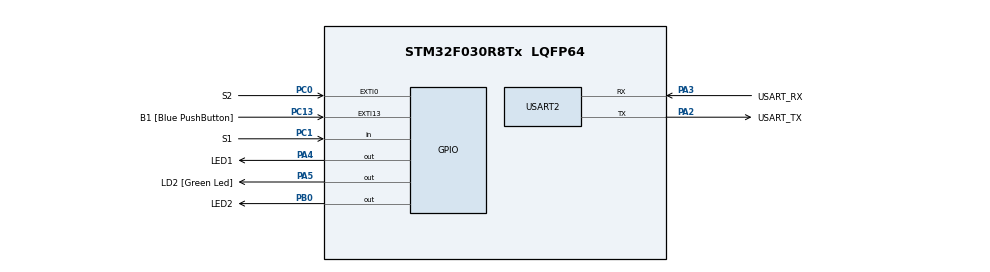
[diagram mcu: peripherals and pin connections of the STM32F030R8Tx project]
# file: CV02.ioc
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Mcu.Family=STM32F0
Mcu.Name=STM32F030R8Tx
Mcu.Package=LQFP64
NVIC.EXTI0_1_IRQn=true\:0\:0\:false\:false\:true\:true\:true\:true
PA13.GPIO_Label=TMS
PA13.Mode=Serial_Wire
PA13.Signal=SYS_SWDIO
PA14.GPIO_Label=TCK
PA14.Mode=Serial_Wire
PA14.Signal=SYS_SWCLK
PA2.GPIO_Label=USART_TX
PA2.GPIO_Mode=GPIO_MODE_AF_PP
PA2.GPIO_PuPd=GPIO_NOPULL
PA2.GPIO_Speed=GPIO_SPEED_FREQ_LOW
PA2.Mode=Asynchronous
PA2.Signal=USART2_TX
PA3.GPIO_Label=USART_RX
PA3.GPIO_Mode=GPIO_MODE_AF_PP
PA3.GPIO_PuPd=GPIO_NOPULL
PA3.GPIO_Speed=GPIO_SPEED_FREQ_LOW
PA3.Mode=Asynchronous
PA3.Signal=USART2_RX
PA4.GPIO_Label=LED1
PA4.Signal=GPIO_Output
PA5.GPIO_Label=LD2 [Green Led]
PA5.GPIO_Mode=GPIO_MODE_OUTPUT_PP
PA5.GPIO_PuPd=GPIO_NOPULL
PA5.GPIO_Speed=GPIO_SPEED_FREQ_LOW
PA5.Signal=GPIO_Output
PB0.GPIO_Label=LED2
PB0.Signal=GPIO_Output
PC0.GPIO_Label=S2
PC0.GPIO_ModeDefaultEXTI=GPIO_MODE_IT_FALLING
PC0.GPIO_PuPd=GPIO_PULLUP
PC0.Signal=GPXTI0
PC1.GPIO_Label=S1
PC1.GPIO_PuPd=GPIO_PULLUP
PC1.Signal=GPIO_Input
PC13.GPIO_Label=B1 [Blue PushButton]
PC13.GPIO_ModeDefaultEXTI=GPIO_MODE_IT_FALLING
PC13.Signal=GPXTI13
PC14-OSC32_IN.Mode=LSE-External-Oscillator
PC14-OSC32_IN.Signal=RCC_OSC32_IN
PC15-OSC32_OUT.Mode=LSE-External-Oscillator
PC15-OSC32_OUT.Signal=RCC_OSC32_OUT
PF0-OSC_IN.Mode=HSE-External-Clock-Source
PF0-OSC_IN.Signal=RCC_OSC_IN
PF1-OSC_OUT.Signal=RCC_OSC_OUT
ProjectManager.HeapSize=0x200
ProjectManager.StackSize=0x400
ProjectManager.TargetToolchain=STM32CubeIDE
RCC.AHBFreq_Value=48000000
RCC.APB1Freq_Value=48000000
RCC.APB1TimFreq_Value=48000000
RCC.HCLKFreq_Value=48000000
RCC.PLLMUL=RCC_PLL_MUL12
RCC.SYSCLKFreq_VALUE=48000000
RCC.SYSCLKSource=RCC_SYSCLKSOURCE_PLLCLK
USART2.VirtualMode-Asynchronous=VM_ASYNC
board=NUCLEO-F030R8

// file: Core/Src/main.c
/* USER CODE BEGIN Header */
/**
  ******************************************************************************
  * @file           : main.c
  * @brief          : Main program body
  ******************************************************************************
  * @attention
  *
  * Copyright (c) 2024 STMicroelectronics.
  * All rights reserved.
  *
  * This software is licensed under terms that can be found in the LICENSE file
  * in the root directory of this software component.
  * If no LICENSE file comes with this software, it is provided AS-IS.
  *
  ******************************************************************************
  */
/* USER CODE END Header */
#include "main.h"
volatile uint32_t Tick;
#define LED_TIME_BLINK 600
#define LED_TIME_SHORT 300
#define LED_TIME_LONG  1000
#define BUTTON_PERIOD 40

/* USER CODE BEGIN PV */
volatile uint32_t Tick;
/* USER CODE END PV */

void SystemClock_Config(void);
static void MX_GPIO_Init(void);
static void MX_USART2_UART_Init(void);

/* USER CODE BEGIN 0 */
void blink(void) {
    static uint32_t delay;
    if (Tick > delay + LED_TIME_BLINK) {
        LL_GPIO_TogglePin(LED1_GPIO_Port, LED1_Pin);
        delay = Tick;
    }
}

void button(void) {
    static uint32_t old_s2, old_s1;
    static uint32_t off_time = 0;
    uint32_t new_s2 = LL_GPIO_IsInputPinSet(S2_GPIO_Port, S2_Pin);
    uint32_t new_s1 = LL_GPIO_IsInputPinSet(S1_GPIO_Port, S1_Pin);

    if (old_s2 && !new_s2) {
        off_time = Tick + LED_TIME_SHORT;
        LL_GPIO_SetOutputPin(LED2_GPIO_Port, LED2_Pin);
    }
    if (old_s1 && !new_s1) {
        off_time = Tick + LED_TIME_LONG;
        LL_GPIO_SetOutputPin(LED2_GPIO_Port, LED2_Pin);
    }
    old_s2 = new_s2;
    old_s1 = new_s1;

    if (Tick > off_time) {
        LL_GPIO_ResetOutputPin(LED2_GPIO_Port, LED2_Pin);
    }
}

static uint16_t debounce1 = 0xFFFF;
static uint16_t debounce2 = 0xFFFF;

void button_advanced(void) {
    static uint32_t off_time = 0;
    debounce1 = (debounce1 << 1) | LL_GPIO_IsInputPinSet(S2_GPIO_Port, S2_Pin);
    debounce2 = (debounce2 << 1) | LL_GPIO_IsInputPinSet(S1_GPIO_Port, S1_Pin);

    if (debounce1 == 0x7FFF) {
        LL_GPIO_SetOutputPin(LED2_GPIO_Port, LED2_Pin);
        off_time = Tick + 100;
    }

    if (debounce2 == 0x7FFF) {
            LL_GPIO_SetOutputPin(LED2_GPIO_Port, LED2_Pin);
            off_time = Tick + 1000;
        }

    // Turn off LED2 when time expires
    if (Tick > off_time) {
        LL_GPIO_ResetOutputPin(LED2_GPIO_Port, LED2_Pin);
    }
}

/* USER CODE END 0 */

int main(void)
{

  /* MCU Configuration--------------------------------------------------------*/

  /* Reset of all peripherals, Initializes the Flash interface and the Systick. */
  LL_APB1_GRP2_EnableClock(LL_APB1_GRP2_PERIPH_SYSCFG);
  LL_APB1_GRP1_EnableClock(LL_APB1_GRP1_PERIPH_PWR);

  /* Configure the system clock */
  SystemClock_Config();

  /* Initialize all configured peripherals */
  MX_GPIO_Init();
  MX_USART2_UART_Init();
  /* USER CODE BEGIN 2 */
  LL_SYSTICK_EnableIT();
  /* USER CODE END 2 */

  /* Infinite loop */
  /* USER CODE BEGIN WHILE */
  while (1)
  {

	blink();

	static uint32_t last_button_tick;

	if(Tick > last_button_tick + BUTTON_PERIOD){
		last_button_tick = Tick;
		button_advanced();
	}

    /* USER CODE END WHILE */

  }
}

void SystemClock_Config(void)
{
  LL_FLASH_SetLatency(LL_FLASH_LATENCY_1);
  while(LL_FLASH_GetLatency() != LL_FLASH_LATENCY_1)
  {
  }
  LL_RCC_HSI_Enable();

   /* Wait till HSI is ready */
  while(LL_RCC_HSI_IsReady() != 1)
  {

  }
  LL_RCC_HSI_SetCalibTrimming(16);
  LL_RCC_PLL_ConfigDomain_SYS(LL_RCC_PLLSOURCE_HSI_DIV_2, LL_RCC_PLL_MUL_12);
  LL_RCC_PLL_Enable();

   /* Wait till PLL is ready */
  while(LL_RCC_PLL_IsReady() != 1)
  {

  }
  LL_RCC_SetAHBPrescaler(LL_RCC_SYSCLK_DIV_1);
  LL_RCC_SetAPB1Prescaler(LL_RCC_APB1_DIV_1);
  LL_RCC_SetSysClkSource(LL_RCC_SYS_CLKSOURCE_PLL);

   /* Wait till System clock is ready */
  while(LL_RCC_GetSysClkSource() != LL_RCC_SYS_CLKSOURCE_STATUS_PLL)
  {

  }
  LL_Init1msTick(48000000);
  LL_SetSystemCoreClock(48000000);
}

static void MX_USART2_UART_Init(void)
{

  LL_USART_InitTypeDef USART_InitStruct = {0};

  LL_GPIO_InitTypeDef GPIO_InitStruct = {0};

  /* Peripheral clock enable */
  LL_APB1_GRP1_EnableClock(LL_APB1_GRP1_PERIPH_USART2);

  LL_AHB1_GRP1_EnableClock(LL_AHB1_GRP1_PERIPH_GPIOA);
  /**USART2 GPIO Configuration
  PA2   ------> USART2_TX
  PA3   ------> USART2_RX
  */
  GPIO_InitStruct.Pin = USART_TX_Pin;
  GPIO_InitStruct.Mode = LL_GPIO_MODE_ALTERNATE;
  GPIO_InitStruct.Speed = LL_GPIO_SPEED_FREQ_LOW;
  GPIO_InitStruct.OutputType = LL_GPIO_OUTPUT_PUSHPULL;
  GPIO_InitStruct.Pull = LL_GPIO_PULL_NO;
  GPIO_InitStruct.Alternate = LL_GPIO_AF_1;
  LL_GPIO_Init(USART_TX_GPIO_Port, &GPIO_InitStruct);

  GPIO_InitStruct.Pin = USART_RX_Pin;
  GPIO_InitStruct.Mode = LL_GPIO_MODE_ALTERNATE;
  GPIO_InitStruct.Speed = LL_GPIO_SPEED_FREQ_LOW;
  GPIO_InitStruct.OutputType = LL_GPIO_OUTPUT_PUSHPULL;
  GPIO_InitStruct.Pull = LL_GPIO_PULL_NO;
  GPIO_InitStruct.Alternate = LL_GPIO_AF_1;
  LL_GPIO_Init(USART_RX_GPIO_Port, &GPIO_InitStruct);

  USART_InitStruct.BaudRate = 38400;
  USART_InitStruct.DataWidth = LL_USART_DATAWIDTH_8B;
  USART_InitStruct.StopBits = LL_USART_STOPBITS_1;
  USART_InitStruct.Parity = LL_USART_PARITY_NONE;
  USART_InitStruct.TransferDirection = LL_USART_DIRECTION_TX_RX;
  USART_InitStruct.HardwareFlowControl = LL_USART_HWCONTROL_NONE;
  USART_InitStruct.OverSampling = LL_USART_OVERSAMPLING_16;
  LL_USART_Init(USART2, &USART_InitStruct);
  LL_USART_DisableIT_CTS(USART2);
  LL_USART_ConfigAsyncMode(USART2);
  LL_USART_Enable(USART2);

}

static void MX_GPIO_Init(void)
{
  LL_EXTI_InitTypeDef EXTI_InitStruct = {0};
  LL_GPIO_InitTypeDef GPIO_InitStruct = {0};

  /* GPIO Ports Clock Enable */
  LL_AHB1_GRP1_EnableClock(LL_AHB1_GRP1_PERIPH_GPIOC);
  LL_AHB1_GRP1_EnableClock(LL_AHB1_GRP1_PERIPH_GPIOF);
  LL_AHB1_GRP1_EnableClock(LL_AHB1_GRP1_PERIPH_GPIOA);
  LL_AHB1_GRP1_EnableClock(LL_AHB1_GRP1_PERIPH_GPIOB);

  /**/
  LL_GPIO_ResetOutputPin(LED1_GPIO_Port, LED1_Pin);

  /**/
  LL_GPIO_ResetOutputPin(LD2_GPIO_Port, LD2_Pin);

  /**/
  LL_GPIO_ResetOutputPin(LED2_GPIO_Port, LED2_Pin);

  /**/
  LL_SYSCFG_SetEXTISource(LL_SYSCFG_EXTI_PORTC, LL_SYSCFG_EXTI_LINE13);

  /**/
  LL_SYSCFG_SetEXTISource(LL_SYSCFG_EXTI_PORTC, LL_SYSCFG_EXTI_LINE0);

  /**/
  LL_GPIO_SetPinPull(B1_GPIO_Port, B1_Pin, LL_GPIO_PULL_NO);

  /**/
  LL_GPIO_SetPinPull(S2_GPIO_Port, S2_Pin, LL_GPIO_PULL_UP);

  /**/
  LL_GPIO_SetPinMode(B1_GPIO_Port, B1_Pin, LL_GPIO_MODE_INPUT);

  /**/
  LL_GPIO_SetPinMode(S2_GPIO_Port, S2_Pin, LL_GPIO_MODE_INPUT);

  /**/
  EXTI_InitStruct.Line_0_31 = LL_EXTI_LINE_13;
  EXTI_InitStruct.LineCommand = ENABLE;
  EXTI_InitStruct.Mode = LL_EXTI_MODE_IT;
  EXTI_InitStruct.Trigger = LL_EXTI_TRIGGER_FALLING;
  LL_EXTI_Init(&EXTI_InitStruct);

  /**/
  EXTI_InitStruct.Line_0_31 = LL_EXTI_LINE_0;
  EXTI_InitStruct.LineCommand = ENABLE;
  EXTI_InitStruct.Mode = LL_EXTI_MODE_IT;
  EXTI_InitStruct.Trigger = LL_EXTI_TRIGGER_FALLING;
  LL_EXTI_Init(&EXTI_InitStruct);

  /**/
  GPIO_InitStruct.Pin = S1_Pin;
  GPIO_InitStruct.Mode = LL_GPIO_MODE_INPUT;
  GPIO_InitStruct.Pull = LL_GPIO_PULL_UP;
  LL_GPIO_Init(S1_GPIO_Port, &GPIO_InitStruct);

  /**/
  GPIO_InitStruct.Pin = LED1_Pin;
  GPIO_InitStruct.Mode = LL_GPIO_MODE_OUTPUT;
  GPIO_InitStruct.Speed = LL_GPIO_SPEED_FREQ_LOW;
  GPIO_InitStruct.OutputType = LL_GPIO_OUTPUT_PUSHPULL;
  GPIO_InitStruct.Pull = LL_GPIO_PULL_NO;
  LL_GPIO_Init(LED1_GPIO_Port, &GPIO_InitStruct);

  /**/
  GPIO_InitStruct.Pin = LD2_Pin;
  GPIO_InitStruct.Mode = LL_GPIO_MODE_OUTPUT;
  GPIO_InitStruct.Speed = LL_GPIO_SPEED_FREQ_LOW;
  GPIO_InitStruct.OutputType = LL_GPIO_OUTPUT_PUSHPULL;
  GPIO_InitStruct.Pull = LL_GPIO_PULL_NO;
  LL_GPIO_Init(LD2_GPIO_Port, &GPIO_InitStruct);

  /**/
  GPIO_InitStruct.Pin = LED2_Pin;
  GPIO_InitStruct.Mode = LL_GPIO_MODE_OUTPUT;
  GPIO_InitStruct.Speed = LL_GPIO_SPEED_FREQ_LOW;
  GPIO_InitStruct.OutputType = LL_GPIO_OUTPUT_PUSHPULL;
  GPIO_InitStruct.Pull = LL_GPIO_PULL_NO;
  LL_GPIO_Init(LED2_GPIO_Port, &GPIO_InitStruct);

  /* EXTI interrupt init*/
  NVIC_SetPriority(EXTI0_1_IRQn, 0);
  NVIC_EnableIRQ(EXTI0_1_IRQn);

}

void Error_Handler(void)
{
  __disable_irq();
  while (1)
  {
  }
}
